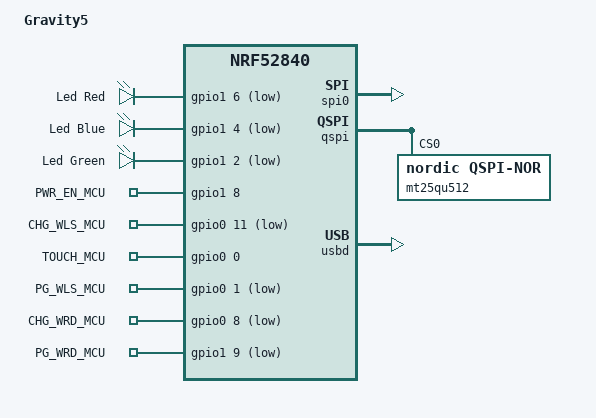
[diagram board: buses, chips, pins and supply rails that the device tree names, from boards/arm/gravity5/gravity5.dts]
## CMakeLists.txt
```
cmake_minimum_required(VERSION 3.20.0)
find_package(Zephyr REQUIRED HINTS $ENV{ZEPHYR_BASE})

project(mass_test)

target_sources(app PRIVATE src/main.c)
```

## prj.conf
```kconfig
CONFIG_GPIO=y
CONFIG_CLOCK_CONTROL_NRF_K32SRC_RC=y
CONFIG_CLOCK_CONTROL_NRF_K32SRC_500PPM=y
CONFIG_CLOCK_CONTROL_NRF_K32SRC_SYNTH=y
CONFIG_LOG=y
CONFIG_USE_SEGGER_RTT=y
CONFIG_RTT_CONSOLE=y
CONFIG_UART_CONSOLE=n
CONFIG_PINCTRL=y


CONFIG_MASS_STORAGE_DISK_NAME="NAND"
CONFIG_MPU_ALLOW_FLASH_WRITE=y
CONFIG_REBOOT=y
CONFIG_FLASH=y
CONFIG_FLASH_PAGE_LAYOUT=y
CONFIG_DISK_DRIVER_FLASH=y
CONFIG_FILE_SYSTEM=y
CONFIG_FAT_FILESYSTEM_ELM=y
CONFIG_FS_FATFS_LFN=y
CONFIG_FLASH_MAP=y
CONFIG_NRFX_QSPI=y
CONFIG_NORDIC_QSPI_NOR=y
CONFIG_NORDIC_QSPI_NOR_FLASH_LAYOUT_PAGE_SIZE=4096
CONFIG_USB_DEVICE_STACK=y
CONFIG_USB_DEVICE_PRODUCT="MSC test"
CONFIG_USB_DEVICE_PID=0x0008
CONFIG_USB_DEVICE_VID=0x2FE3
CONFIG_USB_DRIVER_LOG_LEVEL_ERR=y
CONFIG_USB_MASS_STORAGE=y
CONFIG_USB_DEVICE_LOG_LEVEL_ERR=y
CONFIG_USB_MASS_STORAGE_LOG_LEVEL_ERR=y
CONFIG_USB_DEVICE_INITIALIZE_AT_BOOT=n
CONFIG_MAIN_STACK_SIZE=2048


CONFIG_USB_DFU_CLASS=y
CONFIG_USB_DFU_ENABLE_UPLOAD=y
CONFIG_IMG_MANAGER=y
CONFIG_BOOTLOADER_MCUBOOT=y
CONFIG_MCUBOOT_SIGNATURE_KEY_FILE=""
```

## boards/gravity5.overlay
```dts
&mt25qu512 {
	partitions {
		compatible = "fixed-partitions";
		#address-cells = <1>;
		#size-cells = <1>;

		flash_storage_partition: partition@0 {
			label = "flash_storage";
			reg = <0x00000000 0x04000000>;
		};
	};
};

/ {
	msc_disk0 {
		compatible = "zephyr,flash-disk";
		partition = <&flash_storage_partition>;
		disk-name = "NAND";
		cache-size = <4096>;
	};
};
```

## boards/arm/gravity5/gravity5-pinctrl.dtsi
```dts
&pinctrl {
	qspi_default: qspi_default {
		group1 {
			psels = <NRF_PSEL(QSPI_SCK, 0, 19)>,
				<NRF_PSEL(QSPI_IO0, 0, 20)>,
				<NRF_PSEL(QSPI_IO1, 0, 21)>,
				<NRF_PSEL(QSPI_IO2, 0, 22)>,
				<NRF_PSEL(QSPI_IO3, 0, 23)>,
				<NRF_PSEL(QSPI_CSN, 0, 17)>;
		};
	};

	qspi_sleep: qspi_sleep {
		group1 {
			psels = <NRF_PSEL(QSPI_SCK, 0, 19)>,
				<NRF_PSEL(QSPI_IO0, 0, 20)>,
				<NRF_PSEL(QSPI_IO1, 0, 21)>,
				<NRF_PSEL(QSPI_IO2, 0, 22)>,
				<NRF_PSEL(QSPI_IO3, 0, 23)>;
			low-power-enable;
		};
		group2 {
			psels = <NRF_PSEL(QSPI_CSN, 0, 17)>;
			low-power-enable;
			bias-pull-up;
		};
	};
};
```

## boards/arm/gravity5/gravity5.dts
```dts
/dts-v1/;
#include <nordic/nrf52840_qiaa.dtsi>
#include "gravity5-pinctrl.dtsi"

/ {
	model = "Gravity5";
	compatible = "ardesia,gravity5";

	chosen {
		zephyr,sram = &sram0;
		zephyr,flash = &flash0;
		zephyr,code-partition = &slot0_partition;
	};

	leds {
		compatible = "gpio-leds";

		led_red: led_0 {
			gpios = < &gpio1 6 GPIO_ACTIVE_LOW >;
			label = "Led Red";
		};

		led_green: led_1 {
			gpios = < &gpio1 4 GPIO_ACTIVE_LOW >;
			label = "Led Blue";
		};

		led_blue: led_2 {
			gpios = < &gpio1 2 GPIO_ACTIVE_LOW >;
			label = "Led Green";
		};
	};

	gpiocustom {
		compatible = "gpio-keys";

		pwr_en_mcu: gpiocustom_0 {
			gpios = < &gpio1 8 GPIO_ACTIVE_HIGH >;
			label = "PWR_EN_MCU";
		};

		chg_wls_mcu: gpiocustom_1 {
			gpios = < &gpio0 11 GPIO_ACTIVE_LOW >;
			label = "CHG_WLS_MCU";
		};

		touch_mcu: gpiocustom_2 {
			gpios = < &gpio0 0 GPIO_ACTIVE_HIGH >;
			label = "TOUCH_MCU";
		};

		pg_wls_mcu: gpiocustom_3 {
			gpios = < &gpio0 1 GPIO_ACTIVE_LOW >;
			label = "PG_WLS_MCU";
		};

		chg_wrd_mcu: gpiocustom_4 {
			gpios = < &gpio0 8 GPIO_ACTIVE_LOW >;
			label = "CHG_WRD_MCU";
		};

		pg_wrd_mcu: gpiocustom_5 {
			gpios = < &gpio1 9 GPIO_ACTIVE_LOW >;
			label = "PG_WRD_MCU";
		};
	};
	aliases {
		spi-flash0 = &mt25qu512;
	};
};

&gpio1 {
	status = "okay";
};

&gpio0 {
	status = "okay";
};

&spi0 {
	status = "okay";
	max-frequency = < 0x6ACFC0 >;
};

&qspi {
	status = "okay";
	pinctrl-0 = <&qspi_default>;
	pinctrl-1 = <&qspi_sleep>;
	pinctrl-names = "default", "sleep";

	mt25qu512: mt25qu512@0 {
		compatible = "nordic,qspi-nor";
		reg = <0>;
		writeoc = "pp4io";
		readoc = "read4o";
		sck-frequency = <8000000>;
		jedec-id = [20 bb 20];
		sfdp-bfp = [
			e5 20 fb ff  ff ff ff 1f  29 eb 27 6b  27 3b 27 bb
			ff ff ff ff  ff ff 27 bb  ff ff 29 eb  0c 20 10 d8
			0f 52 00 00  24 4a 99 00  8b 8e 03 e1  ac 01 27 38
			7a 75 7a 75  fb bd d5 5c  4a 0f 82 ff  81 bd 3d 36
		];
		size = <536870912>;
		has-dpd;
		t-enter-dpd = <10000>;
		t-exit-dpd = <35000>;
	};
};

&flash0 {
	partitions {
		compatible = "fixed-partitions";
		#address-cells = <1>;
		#size-cells = <1>;

		boot_partition: partition@0 {
			label = "mcuboot";
			reg = <0x00000000 0x0000C000>;
		};
		slot0_partition: partition@c000 {
			label = "image-0";
			reg = <0x0000C000 0x00067000>;
		};
		slot1_partition: partition@73000 {
			label = "image-1";
			reg = <0x00073000 0x00067000>;
		};
		scratch_partition: partition@da000 {
			label = "image-scratch";
			reg = <0x000da000 0x0001e000>;
		};		
		storage_partition: partition@f8000 {
			label = "storage";
			reg = <0x000f8000 0x00008000>;
		};
	};
};

zephyr_udc0: &usbd {
	compatible = "nordic,nrf-usbd";
	status = "okay";
};
```

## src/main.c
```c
#include <zephyr/kernel.h>
#include <zephyr/logging/log.h>
#include <zephyr/drivers/gpio.h>
#include <zephyr/usb/usb_device.h>
#include <zephyr/fs/fs.h>
#include <stdio.h>
#include <zephyr/storage/flash_map.h>
#include <ff.h>

LOG_MODULE_REGISTER( main );

#define FLASH_STORAGE_PARTITION		flash_storage_partition
#define FLASH_STORAGE_PARTITION_ID	FIXED_PARTITION_ID( FLASH_STORAGE_PARTITION )
#define DISK_MOUNT_PT 				"/NAND:"
#define RECORDS_DIRECTORY_PATH 		"/NAND:/Records/"

typedef enum
{
    SYSTEM_NO_ERROR = 0,
    SYSTEM_ERROR = -99,
    SYSTEM_ERROR_INIT_GPIO,
    SYSTEM_ERROR_INIT_STATUS_LED,
    SYSTEM_ERROR_INIT_BLE_CONNECTION,
    SYSTEM_ERROR_INIT_ICM20948,
    SYSTEM_ERROR_BLE_DEVICE_NACK_RECEIVED,
    SYSTEM_ERROR_BLE_PACKET_RECEIVED_WRONG_SIZE,
    SYSTEM_ERROR_BLE_PACKET_RECEIVED_WRONG_DATA,

} system_error_t;

static struct fs_mount_t fsMount;
static const struct gpio_dt_spec ledRed = GPIO_DT_SPEC_GET( DT_NODELABEL( led_red ), gpios );

static system_error_t Memory_Flash_Setup_Disk( void )
{
	struct fs_mount_t *mp = &fsMount;
	static FATFS fatFs;
	unsigned int storagePartitionId;
	const struct flash_area *pfa;

	mp->storage_dev = ( void * )FLASH_STORAGE_PARTITION_ID;
	storagePartitionId = FLASH_STORAGE_PARTITION_ID;
	
	if ( flash_area_open( storagePartitionId, &pfa ) < 0 )
	{
		flash_area_close( pfa );
		LOG_ERR( "Failed to setup flash area" );
		return SYSTEM_ERROR;
	}

	mp->type = FS_FATFS;
	mp->fs_data = &fatFs;
	mp->mnt_point = DISK_MOUNT_PT;	
	
	if ( fs_mount( mp ) < 0 )
	{
		LOG_ERR( "Failed to mount filesystem" );
		return SYSTEM_ERROR;
	}

	k_msleep( 50 );
	return SYSTEM_NO_ERROR;
}

void main(void)
{
	struct fs_file_t file;

	if ( !device_is_ready( ledRed.port) )
	{
		LOG_WRN( "Initialize led devices failed" );
		return;
	}

	if ( gpio_pin_configure_dt( &ledRed, GPIO_OUTPUT_INACTIVE ) < 0 )
	{
		LOG_WRN( "Configure led pins failed" );
		return;
	}

	Memory_Flash_Setup_Disk();
	
	if ( usb_enable( NULL ) < 0 )
	{
		LOG_ERR( "Failed to enable USB" );
		return;
	}

	LOG_INF( "The device is put in USB mass storage mode.\n" );

	while (1)
	{
		gpio_pin_toggle_dt( &ledRed );
		k_msleep( 1000 );
	}
}
```
